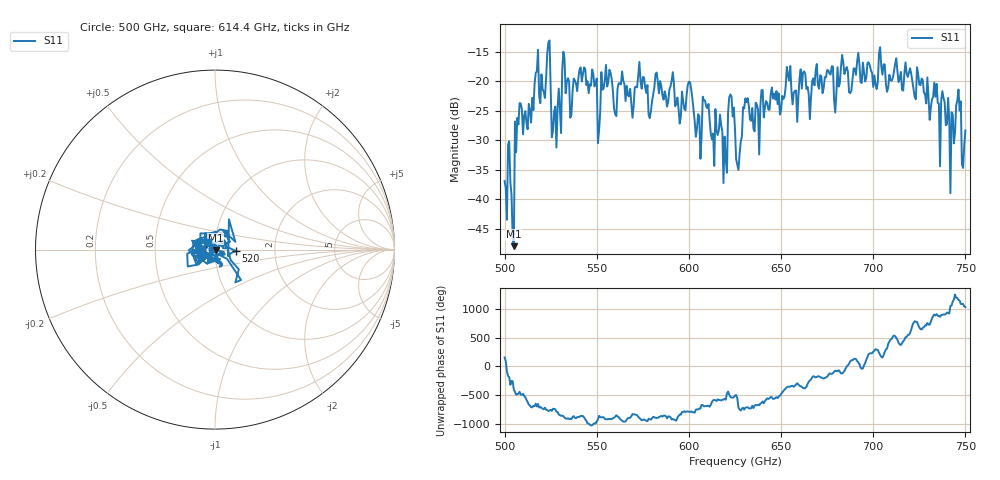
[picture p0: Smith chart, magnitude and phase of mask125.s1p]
!Created with skrf (http://scikit-rf.org).
# GHz S MA R 50.0
!freq magS11 angS11
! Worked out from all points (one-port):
!   401 points, 500 GHz to 750 GHz, reference 50 ohm
!   lowest |S11| = -48.0 dB at 505 GHz (marker M1), VSWR 1.01, Z = 50.3 - j0.286 ohm
!   |S11| at or under -10 dB: start of sweep to end of sweep
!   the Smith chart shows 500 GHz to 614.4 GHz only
!   S11 on the Smith chart (normalised r, x): 500 GHz: 0.97, +0.01; 520 GHz: 1.26, -0.02; 614.4 GHz: 0.92, +0.08
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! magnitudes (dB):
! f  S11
! 500 GHz  -36.9
! 505 GHz  -48.0
! 508.1 GHz  -23.7
! 520 GHz  -18.8
! 523.8 GHz  -13.4
! 526.9 GHz  -25.1
! 531.2 GHz  -18.1
! 548.8 GHz  -20.8
! 550.6 GHz  -30.5
! 553.8 GHz  -21.1
! 562.5 GHz  -20.3
! 590.6 GHz  -19.9
! 593.8 GHz  -22.7
! 600.6 GHz  -20.1
! 605 GHz  -25.6
! 608.8 GHz  -23.2
! 614.4 GHz  -24.7
! 619.4 GHz  -29.4
! 623.1 GHz  -22.6
! 625 GHz  -28.2
! 626.9 GHz  -35.0
! 630.6 GHz  -22.9
! 656.2 GHz  -23.9
! 687.5 GHz  -22.0
! 718.8 GHz  -19.2
! 743.1 GHz  -25.6
! 746.2 GHz  -21.4
! 750 GHz  -28.3
